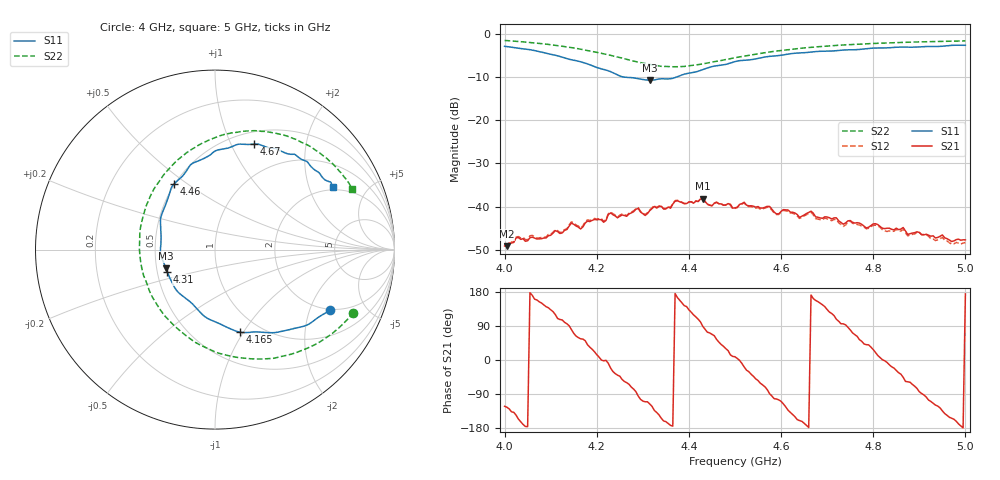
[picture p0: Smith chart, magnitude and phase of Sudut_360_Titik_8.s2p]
# Hz S RI R 50
! CMT, C1220, 16058040, 17.2.0/1
! Date: 15/08/2018 11:45:44
! Data: Format (Calibration Info)
! Freq  S11: Re/Im (F2)  S21: Re/Im (F2)  S12: Re/Im (F2)  S22: Re/Im (F2)
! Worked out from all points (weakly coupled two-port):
!   201 points, 4 GHz to 5 GHz, reference 50 ohm
!   highest |S21| = -38.18 dB at 4.43 GHz (marker M1); lowest = -49.2 dB at 4.005 GHz (marker M2)
!   lowest |S11| = -10.7 dB at 4.315 GHz (marker M3), VSWR 1.83, Z = 28 - j6.44 ohm
!   |S11| at or under -10 dB: 4.264 GHz to 4.372 GHz (107.4 MHz wide, 2.49 % of centre)
!   |S22| runs from -7.5 to -1.4 dB; largest |S21 - S12| = 0.00047
!   S11 on the Smith chart (normalised r, x): 4 GHz: 1.95, -2.78; 4.165 GHz: 0.80, -0.96; 4.31 GHz: 0.56, -0.15; 4.46 GHz: 0.50, +0.44; 4.67 GHz: 0.63, +1.22; 5 GHz: 1.85, +2.91
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4e9  0.6405 -0.3384  -0.00185 -0.00295  -0.00185 -0.00312  0.7713 -0.3511
4.005e9  0.6315 -0.3448  -0.00197 -0.00285  -0.00189 -0.003  0.7627 -0.3625
4.025e9  0.5871 -0.3697  -0.00359 -0.00244  -0.00356 -0.00264  0.7233 -0.4047
4.125e9  0.2841 -0.4617  -0.00133 0.00475  -0.00147 0.00485  0.4386 -0.5783
4.145e9  0.2116 -0.459  0.00108 0.00633  0.000901 0.00658  0.3632 -0.5966
4.165e9  0.1366 -0.4597  0.00308 0.00454  0.00309 0.00473  0.2845 -0.6083
4.17e9  0.1207 -0.4552  0.00332 0.00478  0.00332 0.00498  0.2639 -0.6093
4.215e9  -0.0288 -0.3897  0.00657 -0.000239  0.00672 -0.000201  0.0676 -0.5891
4.23e9  -0.0713 -0.3609  0.00786 -0.00305  0.00809 -0.00297  -0.000209 -0.5695
4.31e9  -0.2658 -0.125  -0.00287 -0.00777  -0.00294 -0.00794  -0.3084 -0.3304
4.315e9  -0.2734 -0.1051  -0.00393 -0.00806  -0.00406 -0.00817  -0.3222 -0.3083
4.335e9  -0.3 -0.0393  -0.00816 -0.00575  -0.00841 -0.00569  -0.3703 -0.2163
4.43e9  -0.2615 0.2877  0.00024 0.0123  0.000375 0.0122  -0.3839 0.2423
4.46e9  -0.2297 0.364  0.00651 0.00909  0.00675 0.009  -0.3245 0.3605
4.5e9  -0.1459 0.4589  0.00953 0.00143  0.00943 0.0013  -0.2239 0.4845
4.52e9  -0.115 0.4856  0.0106 -0.00358  0.0104 -0.00371  -0.1679 0.5319
4.59e9  0.046 0.5602  -0.00183 -0.00801  -0.00182 -0.00788  0.0386 0.6374
4.67e9  0.2152 0.5873  -0.00795 0.00257  -0.00754 0.00264  0.2587 0.6588
4.735e9  0.3361 0.5637  -0.000591 0.00622  -0.000612 0.00585  0.4091 0.6297
4.75e9  0.3557 0.5554  0.00123 0.00677  0.00112 0.00668  0.4395 0.6177
4.835e9  0.4845 0.5015  0.00546 -0.00123  0.0051 -0.00106  0.5855 0.5362
5e9  0.6566 0.3512  -0.00408 0.000405  -0.00381 0.000225  0.766 0.3385
